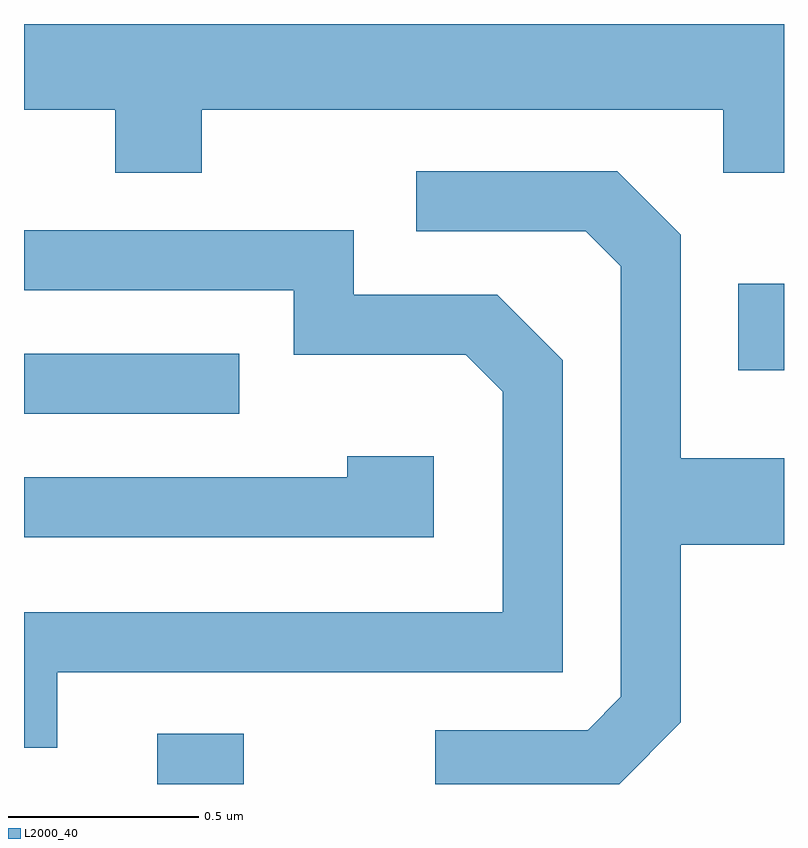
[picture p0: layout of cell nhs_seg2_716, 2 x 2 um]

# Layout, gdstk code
import gdstk
lib = gdstk.Library(unit=1e-6, precision=1e-09)
def R(c, l, rs):  # rectangles x0, y0, x1, y1
    for r in rs: c.add(gdstk.rectangle(r[:2], r[2:], *l))
def P(c, l, *ps):  # polygons
    for p in ps: c.add(gdstk.Polygon(p, *l))
L2000_40 = (2000, 40)

nhs_seg2_716 = lib.new_cell('nhs_seg2_716')
R(nhs_seg2_716, L2000_40, [(190.961,1008.802,191.189,1008.934), (190.611,1009.776,191.178,1009.934), (192.491,1009.891,192.611,1010.119)])
P(nhs_seg2_716, L2000_40, [(191.079,1010.576),(192.451,1010.576),(192.451,1010.411),(192.611,1010.411),(192.611,1010.802),(190.611,1010.802),(190.611,1010.576),(190.851,1010.576),(190.851,1010.411),(191.079,1010.411)],
  [(192.339,1008.964),(192.339,1009.431),(192.611,1009.431),(192.611,1009.659),(192.339,1009.659),(192.339,1010.247),(192.172,1010.414),(191.643,1010.414),(191.643,1010.256),(192.089,1010.256),(192.181,1010.164),(192.181,1009.032),(192.094,1008.944),(191.693,1008.944),(191.693,1008.802),(192.178,1008.802)],
  [(190.699,1009.096),(192.029,1009.096),(192.029,1009.917),(191.857,1010.089),(191.479,1010.089),(191.479,1010.259),(190.611,1010.259),(190.611,1010.101),(191.321,1010.101),(191.321,1009.931),(191.774,1009.931),(191.871,1009.834),(191.871,1009.254),(190.611,1009.254),(190.611,1008.898),(190.699,1008.898)],
  [(191.689,1009.664),(191.461,1009.664),(191.461,1009.609),(190.611,1009.609),(190.611,1009.451),(191.689,1009.451)])

lib.write_gds('nhs_seg2_716.gds')
